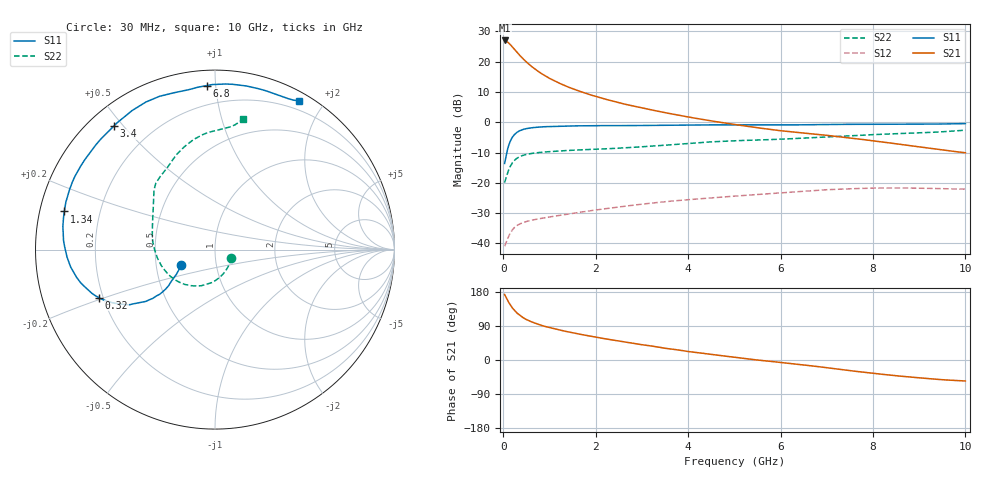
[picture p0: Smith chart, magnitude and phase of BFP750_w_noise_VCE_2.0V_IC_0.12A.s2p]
! Infineon Technologies  Discrete & RF Semiconductors
! BFP750
! VCE =  2.0 V,  IC = 0.12 A
! Common Emitter S-Parameters:  Jan 2016
# GHz  S  MA  R  50
!  f  S11  S21  S12  S22
! GHz  MAG  ANG  MAG  ANG  MAG  ANG  MAG  ANG
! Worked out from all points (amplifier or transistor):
!   229 points, 30 MHz to 10 GHz, reference 50 ohm
!   highest |S21| = 27.0 dB at 30 MHz (marker M1)
!   |S21| within 3 dB of that: start of sweep to 247.9 MHz
!   unconditionally stable (mu >= 1): start of sweep to 291.6 MHz; 928.9 MHz to end of sweep
!   at 280 MHz: K = 1.02, MAG = 28.0 dB, |S12| = -34.3 dB
!   at 1.78 GHz: K = 1.23, MAG = 16.6 dB, |S12| = -29.5 dB
!   at 10 GHz: K = 1.44, MAG = 2.1 dB, |S12| = -22.1 dB
!   lowest NFmin = 1.96 dB at 450 MHz
!   S11 on the Smith chart (normalised r, x): 30 MHz: 0.67, -0.12; 320 MHz: 0.18, -0.19; 1.34 GHz: 0.07, +0.12; 3.4 GHz: 0.07, +0.47; 6.8 GHz: 0.08, +0.95; 10 GHz: 0.10, +1.71
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0.03  0.2092 -155.2  22.46 172.9  0.009 15.9  0.1009 -26.8
0.05  0.2543 -147.5  22.22 167.8  0.0097 21.9  0.1129 -44.9
0.09  0.3499 -141.4  21.23 158.4  0.0118 28.0  0.1424 -71.1
0.11  0.3971 -141.1  20.67 153.9  0.0127 30.2  0.1576 -80.9
0.15  0.4821 -143.2  19.32 145.9  0.0147 31.8  0.1863 -96.5
0.2  0.571 -147.4  17.49 137.1  0.0168 31.6  0.216 -111.0
0.26  0.6447 -152.7  15.52 128.8  0.0188 30.2  0.2417 -123.8
0.32  0.6999 -157.5  13.74 121.8  0.0202 29.0  0.261 -133.5
0.4  0.748 -163.1  11.78 114.0  0.0216 27.7  0.2799 -143.3
0.45  0.77 -166.0  10.78 110.2  0.0223 27.0  0.2879 -148.0
0.6  0.8104 -173.2  8.5 101.1  0.024 26.0  0.3049 -158.7
0.68  0.8221 -176.3  7.632 97.4  0.0247 25.9  0.3108 -162.7
0.8  0.8361 179.5  6.567 92.3  0.0257 26.0  0.3183 -167.9
1  0.8507 173.8  5.322 85.4  0.0273 26.5  0.3279 -174.4
1.34  0.866 165.8  4.014 75.9  0.03 27.6  0.3404 177.8
1.7  0.8759 158.4  3.165 67.1  0.033 28.4  0.3515 171.3
2.4  0.8817 145.6  2.203 52.0  0.039 28.2  0.3705 160.2
3.4  0.8897 129.4  1.494 33.2  0.0479 24.7  0.4129 146.5
5.1  0.9067 108.8  0.898 5.8  0.0611 15.8  0.4982 130.7
6.8  0.9149 92.9  0.63 -17.3  0.0752 3.8  0.5616 113.6
8.4  0.9288 74.5  0.452 -40.3  0.0822 -12.0  0.6458 95.7
10  0.9507 60.5  0.314 -55.4  0.0786 -24.5  0.7414 77.9
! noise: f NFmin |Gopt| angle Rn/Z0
0.45  1.96  0.39  -169  0.34
0.9  1.96  0.49  -163  0.17
1.5  1.98  0.59  -154  0.11
1.9  1.99  0.6  -148  0.13
2.4  2.01  0.6  -141  0.19
3.5  2.46  0.62  -124  0.32
